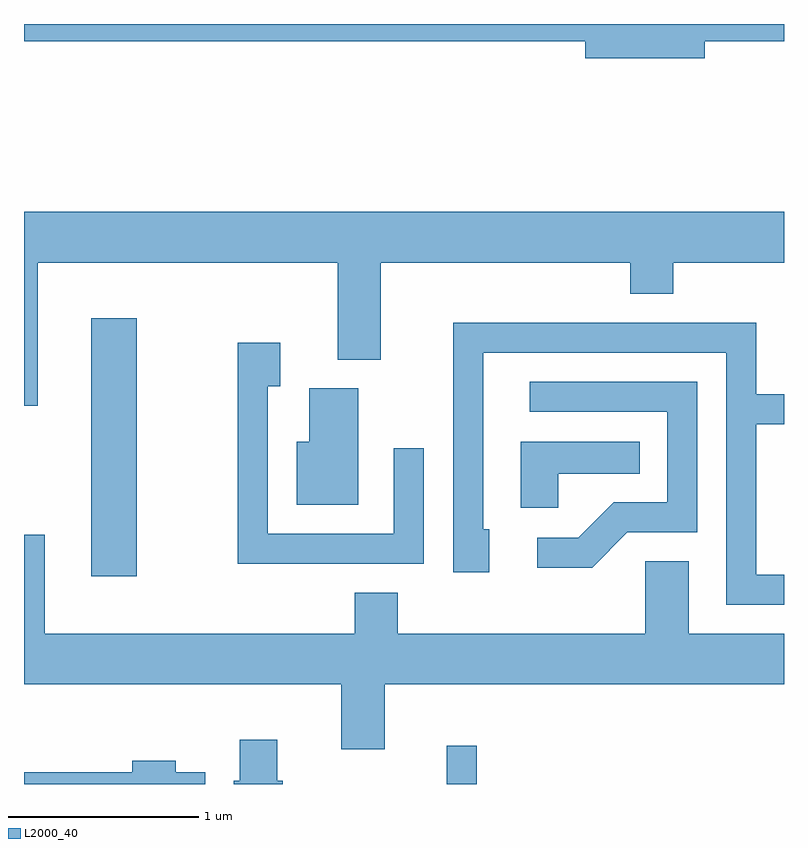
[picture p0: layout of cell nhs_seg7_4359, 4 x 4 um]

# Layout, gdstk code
import gdstk
lib = gdstk.Library(unit=1e-6, precision=1e-09)
def R(c, l, rs):  # rectangles x0, y0, x1, y1
    for r in rs: c.add(gdstk.rectangle(r[:2], r[2:], *l))
def P(c, l, *ps):  # polygons
    for p in ps: c.add(gdstk.Polygon(p, *l))
L2000_40 = (2000, 40)

nhs_seg7_4359 = lib.new_cell('nhs_seg7_4359')
R(nhs_seg7_4359, L2000_40, [(321.836,1698.252,321.994,1698.453), (319.966,1699.346,320.204,1700.704)])
P(nhs_seg7_4359, L2000_40, [(323.194,1702.161),(323.611,1702.161),(323.611,1702.252),(319.611,1702.252),(319.611,1702.161),(322.566,1702.161),(322.566,1702.071),(323.194,1702.071)],
  [(319.684,1700.996),(321.261,1700.996),(321.261,1700.486),(321.489,1700.486),(321.489,1700.996),(322.801,1700.996),(322.801,1700.831),(323.029,1700.831),(323.029,1700.996),(323.611,1700.996),(323.611,1701.264),(319.611,1701.264),(319.611,1700.243),(319.684,1700.243)],
  [(323.611,1699.354),(323.464,1699.354),(323.464,1700.146),(323.611,1700.146),(323.611,1700.304),(323.464,1700.304),(323.464,1700.679),(321.871,1700.679),(321.871,1699.366),(322.059,1699.366),(322.059,1699.594),(322.029,1699.594),(322.029,1700.521),(323.306,1700.521),(323.306,1699.196),(323.611,1699.196)],
  [(321.714,1700.018),(321.556,1700.018),(321.556,1699.569),(320.894,1699.569),(320.894,1700.346),(320.959,1700.346),(320.959,1700.574),(320.736,1700.574),(320.736,1699.411),(321.714,1699.411)],
  [(322.787,1699.576),(323.154,1699.576),(323.154,1700.369),(322.273,1700.369),(322.273,1700.211),(322.996,1700.211),(322.996,1699.734),(322.714,1699.734),(322.529,1699.549),(322.313,1699.549),(322.313,1699.391),(322.602,1699.391)],
  [(321.369,1700.334),(321.111,1700.334),(321.111,1700.054),(321.046,1700.054),(321.046,1699.721),(321.369,1699.721)],
  [(322.424,1699.886),(322.853,1699.886),(322.853,1700.054),(322.226,1700.054),(322.226,1699.706),(322.424,1699.706)],
  [(321.509,1698.776),(323.611,1698.776),(323.611,1699.044),(323.109,1699.044),(323.109,1699.424),(322.881,1699.424),(322.881,1699.044),(321.579,1699.044),(321.579,1699.259),(321.351,1699.259),(321.351,1699.044),(319.719,1699.044),(319.719,1699.564),(319.611,1699.564),(319.611,1698.776),(321.281,1698.776),(321.281,1698.436),(321.509,1698.436)],
  [(320.974,1698.269),(320.944,1698.269),(320.944,1698.484),(320.746,1698.484),(320.746,1698.269),(320.716,1698.269),(320.716,1698.252),(320.974,1698.252)],
  [(320.564,1698.314),(320.409,1698.314),(320.409,1698.374),(320.181,1698.374),(320.181,1698.314),(319.611,1698.314),(319.611,1698.252),(320.564,1698.252)])

lib.write_gds('nhs_seg7_4359.gds')
